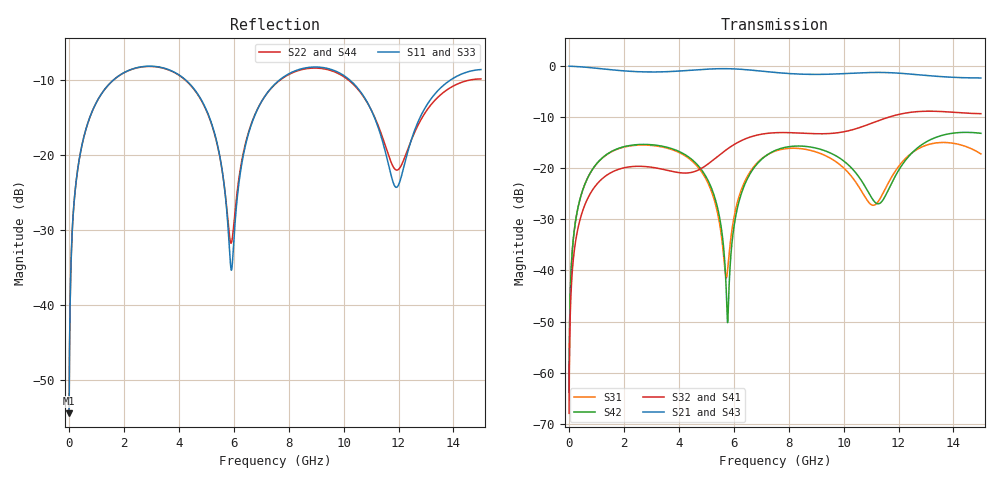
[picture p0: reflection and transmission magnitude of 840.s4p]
! Created with skrf 1.8.0 (http://scikit-rf.org).
# GHz S RI R 50.0
!freq ReS11 ImS11 ReS12 ImS12 ReS13 ImS13
! ReS14 ImS14
! ReS21 ImS21 ReS22 ImS22 ReS23 ImS23
! ReS24 ImS24
! ReS31 ImS31 ReS32 ImS32 ReS33 ImS33
! ReS34 ImS34
! ReS41 ImS41 ReS42 ImS42 ReS43 ImS43
! ReS44 ImS44
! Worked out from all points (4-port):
!   2499 points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, 5 MHz to 15 GHz, reference 50 ohm
!   strongest paths, dB at 5 MHz, 3.476 GHz, 7.19 GHz, 11.1 GHz, 15 GHz:
!     S21: 0.0, -1.1, -1.1, -1.2, -2.3
!     S43: 0.0, -1.1, -1.1, -1.2, -2.3
!     S32: -68.0, -20.3, -13.2, -11.0, -9.3
!     S41: -68.0, -20.4, -13.2, -11.0, -9.4
!     S42: -63.9, -15.8, -17.5, -26.4, -13.2
!     S31: -63.9, -15.9, -17.5, -27.2, -17.2
!   lowest |S11| = -54.4 dB at 5 MHz (marker M1), VSWR 1.00, Z = 50.2 + j0.115 ohm
!   |S11| at or under -10 dB: start of sweep to 1.633 GHz; 4.234 GHz to 7.684 GHz (3.449 GHz wide, 57.9 % of centre); 10.21 GHz to 13.91 GHz (3.704 GHz wide, 30.7 % of centre)
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0.005  0.00151 0.00115  0.9985 -0.00295  7.69e-05 0.000636  -7.45e-05 -0.000393
       0.9985 -0.00295  0.00151 0.00115  -7.45e-05 -0.000393  7.7e-05 0.000636
       7.69e-05 0.000636  -7.45e-05 -0.000393  0.00151 0.00115  0.9985 -0.00295
       -7.45e-05 -0.000393  7.7e-05 0.000636  0.9985 -0.00295  0.00151 0.00115
0.3626511  0.0264 0.0866  0.9636 -0.2118  0.0129 0.0435  -0.0108 -0.0264
           0.9636 -0.2118  0.0264 0.0866  -0.0108 -0.0264  0.0132 0.0434
           0.0129 0.0435  -0.0108 -0.0264  0.0264 0.0866  0.9636 -0.2118
           -0.0108 -0.0264  0.0132 0.0434  0.9636 -0.2118  0.0264 0.0866
1.619545  0.2581 0.1799  0.5736 -0.7143  0.1298 0.0718  -0.0925 -0.0102
          0.5736 -0.7143  0.2567 0.1809  -0.0927 -0.00992  0.1332 0.0675
          0.1298 0.0718  -0.0927 -0.00992  0.258 0.1801  0.5737 -0.7143
          -0.0925 -0.0102  0.1332 0.0675  0.5737 -0.7143  0.2569 0.1808
4.795748  0.1521 -0.1805  -0.7038 -0.6002  0.0551 -0.0773  -0.0425 0.0881
          -0.7038 -0.6002  0.1571 -0.1733  -0.0399 0.0904  0.0421 -0.0897
          0.0551 -0.0773  -0.0399 0.0904  0.1532 -0.1793  -0.7037 -0.6003
          -0.0425 0.0881  0.0421 -0.0897  -0.7037 -0.6003  0.1562 -0.1747
5.777407  0.019 -0.0304  -0.9312 -0.148  0.00903 0.00465  -0.0223 0.1535
          -0.9312 -0.148  0.0276 -0.0268  -0.0171 0.1542  -0.00299 0.000777
          0.00903 0.00465  -0.0171 0.1542  0.0211 -0.0304  -0.9312 -0.1482
          -0.0223 0.1535  -0.00299 0.000777  -0.9312 -0.1482  0.0255 -0.0274
9.247603  0.3783 -0.0415  0.0235 0.8301  0.1082 -0.083  0.2086 -0.0537
          0.0235 0.8301  0.3725 -0.0344  0.2079 -0.0646  0.1088 -0.1044
          0.1082 -0.083  0.2079 -0.0646  0.3762 -0.0414  0.0234 0.8304
          0.2086 -0.0537  0.1088 -0.1044  0.0234 0.8304  0.3731 -0.0347
15  0.3689 -0.00347  0.1299 -0.7545  0.1224 -0.0643  -0.3379 -0.0136
    0.1299 -0.7545  0.3193 0.0109  -0.3421 0.0134  0.1408 -0.1688
    0.1224 -0.0643  -0.3421 0.0134  0.3588 -0.00262  0.1304 -0.7568
    -0.3379 -0.0136  0.1408 -0.1688  0.1304 -0.7568  0.3177 0.00531
